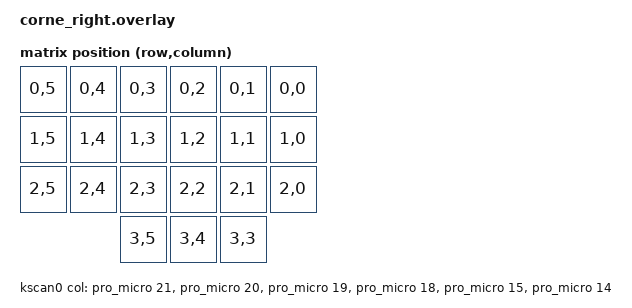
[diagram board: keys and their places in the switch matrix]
/*
 * Metade DIREITA — standalone (sem split).
 * Redefine o matrix transform para 6 colunas × 4 rows.
 * Colunas INVERTIDAS (5→0) porque o PCB é espelhado (flipped).
 * Thumb keys nas colunas 3, 4, 5 (também invertidos).
 * Mesmos pinos de coluna que a esquerda (clone PCB).
 */

#include <dt-bindings/zmk/matrix_transform.h>

&default_transform {
    col-offset = <0>;
    columns = <6>;
    rows = <4>;
    map = <
        RC(0,5) RC(0,4) RC(0,3) RC(0,2) RC(0,1) RC(0,0)
        RC(1,5) RC(1,4) RC(1,3) RC(1,2) RC(1,1) RC(1,0)
        RC(2,5) RC(2,4) RC(2,3) RC(2,2) RC(2,1) RC(2,0)
                        RC(3,5) RC(3,4) RC(3,3)
    >;
};

&five_column_transform {
    col-offset = <0>;
};

&kscan0 {
    col-gpios
        = <&pro_micro 21 GPIO_ACTIVE_HIGH>
        , <&pro_micro 20 GPIO_ACTIVE_HIGH>
        , <&pro_micro 19 GPIO_ACTIVE_HIGH>
        , <&pro_micro 18 GPIO_ACTIVE_HIGH>
        , <&pro_micro 15 GPIO_ACTIVE_HIGH>
        , <&pro_micro 14 GPIO_ACTIVE_HIGH>
        ;
};
